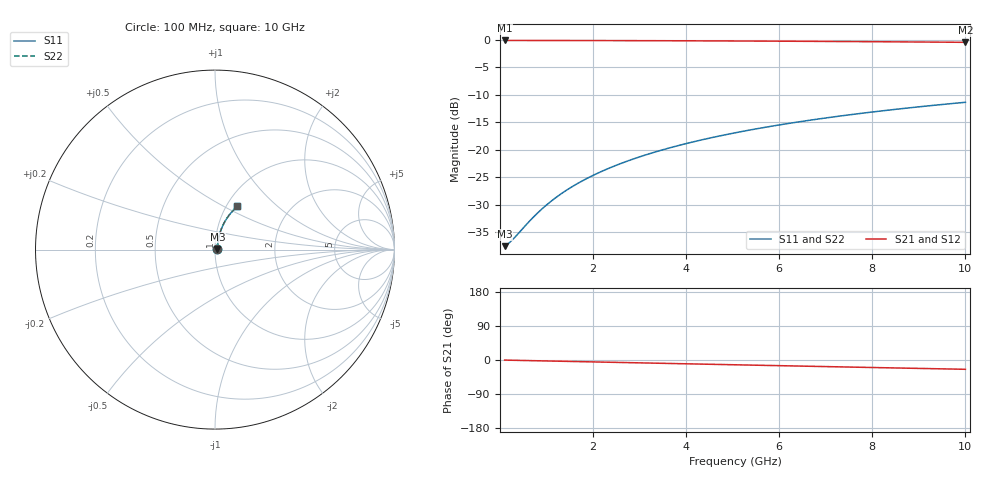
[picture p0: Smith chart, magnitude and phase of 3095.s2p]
# Hz S RI R 50.00
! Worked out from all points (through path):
!   100 points, 100 MHz to 10 GHz, reference 50 ohm
!   highest |S21| = -0.11 dB at 100 MHz (marker M1); lowest = -0.5 dB at 10 GHz (marker M2)
!   group delay of S21, straight-line fit = 6.83 ps
!   lowest |S11| = -37.5 dB at 100 MHz (marker M3), VSWR 1.03, Z = 51.3 + j0.287 ohm
!   |S11| at or under -10 dB: start of sweep to end of sweep
!   |S22| runs from -37.5 to -11.4 dB; largest |S21 - S12| = 0
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1e8  0.013 0.0028  0.987 -0.00433  0.987 -0.00433  0.013 0.0028
2e8  0.0131 0.0056  0.9868 -0.00866  0.9868 -0.00866  0.0131 0.0056
3e8  0.0133 0.0084  0.9867 -0.013  0.9867 -0.013  0.0133 0.0084
7e8  0.0139 0.0196  0.986 -0.0303  0.986 -0.0303  0.0139 0.0196
8e8  0.0141 0.0224  0.9858 -0.0346  0.9858 -0.0346  0.0141 0.0224
1e9  0.0146 0.0279  0.9852 -0.0432  0.9852 -0.0432  0.0146 0.0279
1.2e9  0.0152 0.0335  0.9846 -0.0519  0.9846 -0.0519  0.0152 0.0335
1.4e9  0.0159 0.039  0.9838 -0.0605  0.9838 -0.0605  0.0159 0.039
1.6e9  0.0167 0.0446  0.983 -0.0691  0.983 -0.0691  0.0167 0.0446
1.8e9  0.0175 0.0501  0.982 -0.0776  0.982 -0.0776  0.0175 0.0501
2.1e9  0.019 0.0583  0.9804 -0.0905  0.9804 -0.0905  0.019 0.0583
2.5e9  0.0213 0.0692  0.9779 -0.1075  0.9779 -0.1075  0.0213 0.0692
2.9e9  0.024 0.08  0.975 -0.1244  0.975 -0.1244  0.024 0.08
3.4e9  0.0278 0.0934  0.9708 -0.1454  0.9708 -0.1454  0.0278 0.0934
3.8e9  0.0313 0.1039  0.9669 -0.1621  0.9669 -0.1621  0.0313 0.1039
4.2e9  0.0351 0.1142  0.9627 -0.1786  0.9627 -0.1786  0.0351 0.1142
5.1e9  0.045 0.1369  0.9518 -0.2151  0.9518 -0.2151  0.045 0.1369
5.9e9  0.0552 0.1563  0.9406 -0.2468  0.9406 -0.2468  0.0552 0.1563
6.7e9  0.0666 0.1747  0.928 -0.2776  0.928 -0.2776  0.0666 0.1747
7.5e9  0.0791 0.1923  0.9141 -0.3075  0.9141 -0.3075  0.0791 0.1923
8.4e9  0.0944 0.2108  0.897 -0.3399  0.897 -0.3399  0.0944 0.2108
1e10  0.1245 0.2402  0.8634 -0.3942  0.8634 -0.3942  0.1245 0.2402
